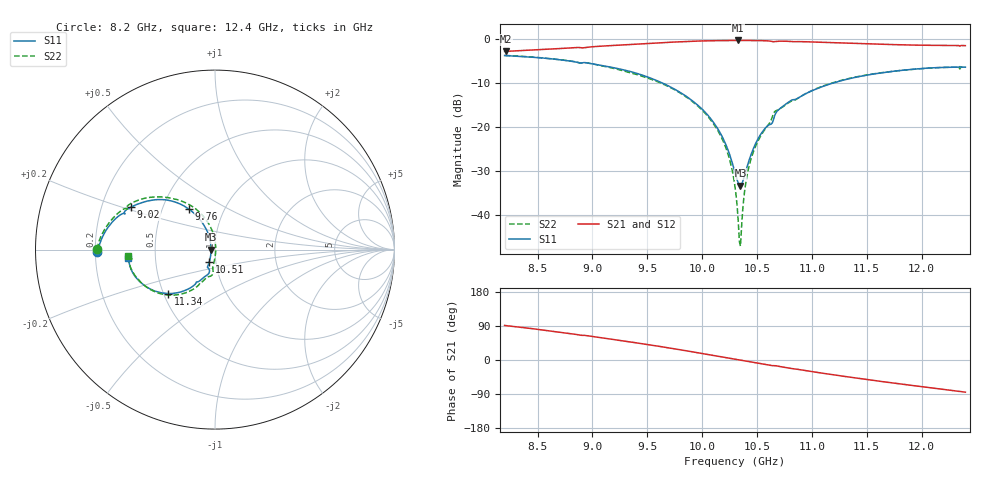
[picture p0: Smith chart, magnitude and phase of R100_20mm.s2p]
#  HZ  S  MA  R  50.00
! Rohde & Schwarz ZVA67 4Ports - Version 4.11 - 1305.7002k04 SN: 101051
! Date: 2023-04-26 10:48:23
! Measurements: S11 S21 S12 S22
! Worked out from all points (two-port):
!   421 points, 8.2 GHz to 12.4 GHz, reference 50 ohm
!   highest |S21| = -0.22 dB at 10.33 GHz (marker M1); lowest = -2.7 dB at 8.21 GHz (marker M2)
!   |S21| within 3 dB of the highest: start of sweep to end of sweep
!   lowest |S11| = -33.2 dB at 10.35 GHz (marker M3), VSWR 1.04, Z = 47.9 - j0.113 ohm
!   |S11| at or under -10 dB: 9.647 GHz to 11.18 GHz (1.533 GHz wide, 14.7 % of centre)
!   |S22| runs from -47.0 to -3.6 dB; largest |S21 - S12| = 0.0048
!   S11 on the Smith chart (normalised r, x): 8.2 GHz: 0.21, -0.01; 9.02 GHz: 0.33, +0.22; 9.76 GHz: 0.68, +0.33; 10.51 GHz: 0.93, -0.13; 11.34 GHz: 0.53, -0.30; 12.4 GHz: 0.35, -0.04
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8.2e9  0.6569 -179.1  0.7327 91.3  0.7332 91.1  0.6594 179.8
8.21e9  0.6556 -179.1  0.7326 90.8  0.7332 90.6  0.6584 179.7
8.9e9  0.5394 158.4  0.8045 65.2  0.8062 65.2  0.5386 155.3
9.02e9  0.5236 153.0  0.8309 61.3  0.8323 61.3  0.5226 149.4
9.6e9  0.3358 129.0  0.9144 36.4  0.9158 36.3  0.329 124.7
9.76e9  0.2677 122.8  0.9373 28.9  0.9388 28.8  0.2638 116.9
9.98e9  0.1706 115.6  0.9616 18.2  0.963 18.0  0.1667 105.9
1.013e10  0.1025 113.0  0.97 10.7  0.9719 10.5  0.09827 97.5
1.024e10  0.05376 119.3  0.9739 5.2  0.9757 5.1  0.0481 89.6
1.03e10  0.03071 137.8  0.9747 2.2  0.9768 2.1  0.02118 80.5
1.033e10  0.02333 161.0  0.9751 0.7  0.9767 0.6  0.008417 61.3
1.035e10  0.02187 -176.9  0.9751 -0.3  0.9767 -0.4  0.004474 -23.9
1.036e10  0.02266 -165.7  0.975 -0.8  0.9768 -0.9  0.007428 -57.9
1.039e10  0.02912 -140.7  0.9748 -2.3  0.9764 -2.4  0.01996 -80.7
1.042e10  0.03927 -127.4  0.9744 -3.7  0.976 -3.9  0.03293 -86.8
1.051e10  0.07437 -115.1  0.9719 -8.2  0.9736 -8.4  0.0703 -94.5
1.067e10  0.1445 -106.1  0.9509 -15.2  0.9526 -15.3  0.1541 -102.5
1.08e10  0.1988 -116.9  0.9509 -21.7  0.9531 -21.9  0.1951 -112.0
1.1e10  0.2609 -123.6  0.938 -30.6  0.9392 -30.7  0.2622 -120.2
1.134e10  0.3581 -136.9  0.9071 -45.0  0.9085 -45.3  0.3607 -135.4
1.17e10  0.4287 -150.1  0.8778 -59.2  0.8793 -59.4  0.4295 -149.9
1.24e10  0.4845 -174.6  0.8522 -84.9  0.8526 -85.2  0.4847 -176.1
